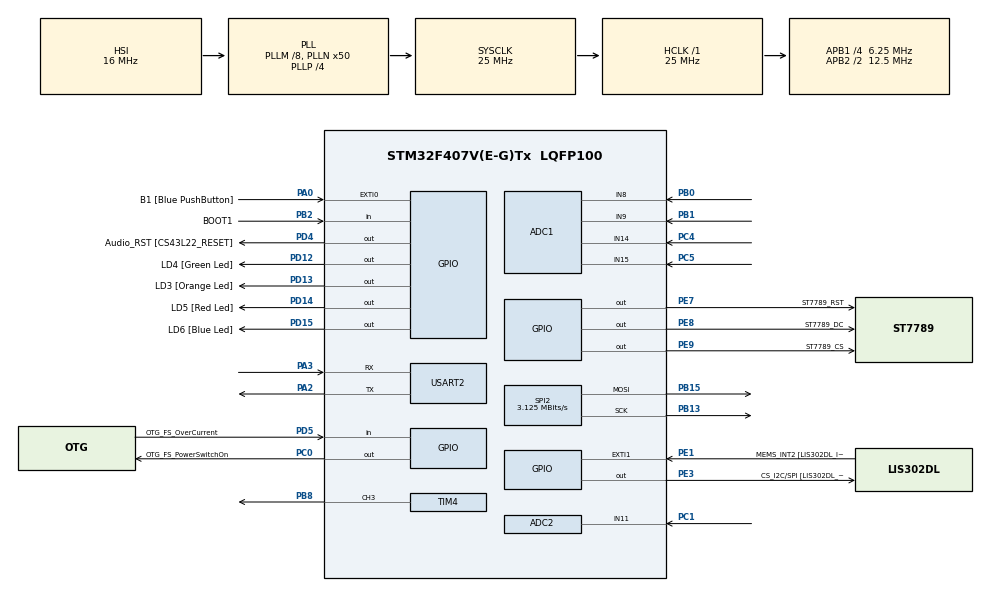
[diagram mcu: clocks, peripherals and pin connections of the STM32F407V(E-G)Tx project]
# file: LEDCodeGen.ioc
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ADC1.Channel-2\#ChannelRegularConversion=ADC_CHANNEL_14
ADC1.Channel-7\#ChannelRegularConversion=ADC_CHANNEL_15
ADC1.Channel-8\#ChannelRegularConversion=ADC_CHANNEL_8
ADC1.Channel-9\#ChannelRegularConversion=ADC_CHANNEL_9
ADC1.ContinuousConvMode=ENABLE
ADC1.DMAContinuousRequests=ENABLE
ADC1.InjNumberOfConversion=0
ADC1.NbrOfConversion=4
ADC1.NbrOfConversionFlag=1
ADC1.Rank-2\#ChannelRegularConversion=1
ADC1.Rank-7\#ChannelRegularConversion=2
ADC1.Rank-8\#ChannelRegularConversion=3
ADC1.Rank-9\#ChannelRegularConversion=4
ADC1.SamplingTime-2\#ChannelRegularConversion=ADC_SAMPLETIME_480CYCLES
ADC1.SamplingTime-7\#ChannelRegularConversion=ADC_SAMPLETIME_480CYCLES
ADC1.SamplingTime-8\#ChannelRegularConversion=ADC_SAMPLETIME_480CYCLES
ADC1.SamplingTime-9\#ChannelRegularConversion=ADC_SAMPLETIME_480CYCLES
ADC1.ScanConvMode=ENABLE
ADC1.master=1
ADC2.Channel-2\#ChannelRegularConversion=ADC_CHANNEL_11
ADC2.NbrOfConversionFlag=1
ADC2.Rank-2\#ChannelRegularConversion=1
ADC2.SamplingTime-2\#ChannelRegularConversion=ADC_SAMPLETIME_3CYCLES
Dma.ADC1.0.Direction=DMA_PERIPH_TO_MEMORY
Dma.ADC1.0.FIFOMode=DMA_FIFOMODE_DISABLE
Dma.ADC1.0.Instance=DMA2_Stream0
Dma.ADC1.0.MemDataAlignment=DMA_MDATAALIGN_WORD
Dma.ADC1.0.MemInc=DMA_MINC_ENABLE
Dma.ADC1.0.Mode=DMA_CIRCULAR
Dma.ADC1.0.PeriphDataAlignment=DMA_PDATAALIGN_WORD
Dma.ADC1.0.PeriphInc=DMA_PINC_DISABLE
Dma.ADC1.0.Priority=DMA_PRIORITY_HIGH
Dma.Request0=ADC1
Mcu.Family=STM32F4
Mcu.Name=STM32F407V(E-G)Tx
Mcu.Package=LQFP100
NVIC.ADC_IRQn=true\:1\:0\:true\:false\:true\:true\:true\:true
NVIC.DMA2_Stream0_IRQn=true\:0\:0\:false\:false\:true\:false\:true\:true
NVIC.PriorityGroup=NVIC_PRIORITYGROUP_4
PA0-WKUP.GPIO_Label=B1 [Blue PushButton]
PA0-WKUP.Signal=GPXTI0
PA10.GPIO_Label=OTG_FS_ID
PA10.GPIO_Mode=GPIO_MODE_AF_PP
PA10.GPIO_PuPd=GPIO_NOPULL
PA10.GPIO_Speed=GPIO_SPEED_FREQ_LOW
PA10.Signal=USB_OTG_FS_ID
PA11.GPIO_Label=OTG_FS_DM
PA11.GPIO_Mode=GPIO_MODE_AF_PP
PA11.GPIO_PuPd=GPIO_NOPULL
PA11.GPIO_Speed=GPIO_SPEED_FREQ_LOW
PA11.Signal=USB_OTG_FS_DM
PA12.GPIO_Label=OTG_FS_DP
PA12.GPIO_Mode=GPIO_MODE_AF_PP
PA12.GPIO_PuPd=GPIO_NOPULL
PA12.GPIO_Speed=GPIO_SPEED_FREQ_LOW
PA12.Signal=USB_OTG_FS_DP
PA13.GPIO_Label=SWDIO
PA13.Signal=SYS_JTMS-SWDIO
PA14.GPIO_Label=SWCLK
PA14.Signal=SYS_JTCK-SWCLK
PA2.Mode=Asynchronous
PA2.Signal=USART2_TX
PA3.Mode=Asynchronous
PA3.Signal=USART2_RX
PA4.GPIO_Label=I2S3_WS [CS43L22_LRCK]
PA4.GPIO_Mode=GPIO_MODE_AF_PP
PA4.GPIO_PuPd=GPIO_NOPULL
PA4.GPIO_Speed=GPIO_SPEED_FREQ_LOW
PA4.Signal=I2S3_WS
PA5.GPIO_Label=SPI1_SCK [LIS302DL_SCL/SPC]
PA5.GPIO_Mode=GPIO_MODE_AF_PP
PA5.GPIO_PuPd=GPIO_NOPULL
PA5.GPIO_Speed=GPIO_SPEED_FREQ_LOW
PA5.Signal=SPI1_SCK
PA6.GPIO_Label=SPI1_MISO [LIS302DL_SDO]
PA6.GPIO_Mode=GPIO_MODE_AF_PP
PA6.GPIO_PuPd=GPIO_NOPULL
PA6.GPIO_Speed=GPIO_SPEED_FREQ_LOW
PA6.Signal=SPI1_MISO
PA7.GPIO_Label=SPI1_MOSI [LIS302DL_SDA/SDI/SDO]
PA7.GPIO_Mode=GPIO_MODE_AF_PP
PA7.GPIO_PuPd=GPIO_NOPULL
PA7.GPIO_Speed=GPIO_SPEED_FREQ_LOW
PA7.Signal=SPI1_MOSI
PA9.GPIO_Label=VBUS_FS
PA9.GPIO_Mode=GPIO_MODE_INPUT
PA9.GPIO_PuPd=GPIO_NOPULL
PA9.Signal=USB_OTG_FS_VBUS
PB0.Signal=ADCx_IN8
PB1.Signal=ADCx_IN9
PB13.Mode=TX_Only_Simplex_Unidirect_Master
PB13.Signal=SPI2_SCK
PB15.Mode=TX_Only_Simplex_Unidirect_Master
PB15.Signal=SPI2_MOSI
PB2.GPIO_Label=BOOT1
PB2.GPIO_Mode=GPIO_MODE_INPUT
PB2.GPIO_PuPd=GPIO_NOPULL
PB2.Signal=GPIO_Input
PB3.GPIO_Label=SWO
PB3.Signal=SYS_JTDO-SWO
PB6.GPIO_Label=Audio_SCL [CS43L22_SCL]
PB6.GPIO_Mode=GPIO_MODE_AF_OD
PB6.GPIO_PuPd=GPIO_NOPULL
PB6.GPIO_Speed=GPIO_SPEED_FREQ_LOW
PB6.Signal=I2C1_SCL
PB8.Signal=S_TIM4_CH3
PB9.GPIO_Label=Audio_SDA [CS43L22_SDA]
PB9.GPIO_Mode=GPIO_MODE_AF_OD
PB9.GPIO_PuPd=GPIO_NOPULL
PB9.GPIO_Speed=GPIO_SPEED_FREQ_LOW
PB9.Signal=I2C1_SDA
PC0.GPIO_Label=OTG_FS_PowerSwitchOn
PC0.GPIO_PuPd=GPIO_NOPULL
PC0.GPIO_Speed=GPIO_SPEED_FREQ_LOW
PC0.PinState=GPIO_PIN_SET
PC0.Signal=GPIO_Output
PC1.Signal=ADCx_IN11
PC10.GPIO_Label=I2S3_SCK [CS43L22_SCLK]
PC10.GPIO_Mode=GPIO_MODE_AF_PP
PC10.GPIO_PuPd=GPIO_NOPULL
PC10.GPIO_Speed=GPIO_SPEED_FREQ_LOW
PC10.Signal=I2S3_CK
PC12.GPIO_Label=I2S3_SD [CS43L22_SDIN]
PC12.GPIO_Mode=GPIO_MODE_AF_PP
PC12.GPIO_PuPd=GPIO_NOPULL
PC12.GPIO_Speed=GPIO_SPEED_FREQ_LOW
PC12.Signal=I2S3_SD
PC14-OSC32_IN.GPIO_Label=PC14-OSC32_IN
PC14-OSC32_IN.Signal=RCC_OSC32_IN
PC15-OSC32_OUT.GPIO_Label=PC15-OSC32_OUT
PC15-OSC32_OUT.Signal=RCC_OSC32_OUT
PC2.Signal=ADCx_IN12
PC4.Signal=ADCx_IN14
PC5.Signal=ADCx_IN15
PC7.GPIO_Label=I2S3_MCK [CS43L22_MCLK]
PC7.GPIO_Mode=GPIO_MODE_AF_PP
PC7.GPIO_PuPd=GPIO_NOPULL
PC7.GPIO_Speed=GPIO_SPEED_FREQ_LOW
PC7.Signal=I2S3_MCK
PD12.GPIO_Label=LD4 [Green Led]
PD12.GPIO_PuPd=GPIO_NOPULL
PD12.GPIO_Speed=GPIO_SPEED_FREQ_LOW
PD12.Signal=GPIO_Output
PD13.GPIO_Label=LD3 [Orange Led]
PD13.GPIO_PuPd=GPIO_NOPULL
PD13.GPIO_Speed=GPIO_SPEED_FREQ_LOW
PD13.Signal=GPIO_Output
PD14.GPIO_Label=LD5 [Red Led]
PD14.GPIO_PuPd=GPIO_NOPULL
PD14.GPIO_Speed=GPIO_SPEED_FREQ_LOW
PD14.Signal=GPIO_Output
PD15.GPIO_Label=LD6 [Blue Led]
PD15.GPIO_PuPd=GPIO_NOPULL
PD15.GPIO_Speed=GPIO_SPEED_FREQ_LOW
PD15.Signal=GPIO_Output
PD4.GPIO_Label=Audio_RST [CS43L22_RESET]
PD4.GPIO_PuPd=GPIO_NOPULL
PD4.GPIO_Speed=GPIO_SPEED_FREQ_LOW
PD4.Signal=GPIO_Output
PD5.GPIO_Label=OTG_FS_OverCurrent
PD5.GPIO_Mode=GPIO_MODE_INPUT
PD5.GPIO_PuPd=GPIO_NOPULL
PD5.Signal=GPIO_Input
PE1.GPIO_Label=MEMS_INT2 [LIS302DL_INT2]
PE1.GPIO_ModeDefaultEXTI=GPIO_MODE_EVT_RISING
PE1.GPIO_PuPd=GPIO_NOPULL
PE1.Signal=GPXTI1
PE3.GPIO_Label=CS_I2C/SPI [LIS302DL_CS_I2C/SPI]
PE3.GPIO_PuPd=GPIO_NOPULL
PE3.GPIO_Speed=GPIO_SPEED_FREQ_LOW
PE3.Signal=GPIO_Output
PE7.GPIO_Label=ST7789_RST
PE7.PinState=GPIO_PIN_SET
PE7.Signal=GPIO_Output
PE8.GPIO_Label=ST7789_DC
PE8.Signal=GPIO_Output
PE9.GPIO_Label=ST7789_CS
PE9.PinState=GPIO_PIN_SET
PE9.Signal=GPIO_Output
PH0-OSC_IN.GPIO_Label=PH0-OSC_IN
PH0-OSC_IN.Signal=RCC_OSC_IN
PH1-OSC_OUT.GPIO_Label=PH1-OSC_OUT
PH1-OSC_OUT.Signal=RCC_OSC_OUT
ProjectManager.HeapSize=0x200
ProjectManager.StackSize=0x400
ProjectManager.TargetToolchain=STM32CubeIDE
RCC.48MHZClocksFreq_Value=14285714.285714285
RCC.AHBFreq_Value=25000000
RCC.APB1CLKDivider=RCC_HCLK_DIV4
RCC.APB1Freq_Value=6250000
RCC.APB1TimFreq_Value=12500000
RCC.APB2CLKDivider=RCC_HCLK_DIV2
RCC.APB2Freq_Value=12500000
RCC.APB2TimFreq_Value=25000000
RCC.CortexFreq_Value=25000000
RCC.HCLKFreq_Value=25000000
RCC.HSE_VALUE=8000000
RCC.HSI_VALUE=16000000
RCC.LSE_VALUE=32768
RCC.PLLM=8
RCC.PLLN=50
RCC.PLLP=RCC_PLLP_DIV4
RCC.PLLQ=7
RCC.SYSCLKFreq_VALUE=25000000
RCC.SYSCLKSource=RCC_SYSCLKSOURCE_PLLCLK
RCC.VCOOutputFreq_Value=100000000
SH.ADCx_IN11.0=ADC2_IN11,IN11
SH.ADCx_IN11.1=ADC1_IN11
SH.ADCx_IN12.0=ADC1_IN12
SH.ADCx_IN12.1=ADC2_IN12
SH.ADCx_IN14.0=ADC1_IN14,IN14
SH.ADCx_IN15.0=ADC1_IN15,IN15
SH.ADCx_IN8.0=ADC1_IN8,IN8
SH.ADCx_IN9.0=ADC1_IN9,IN9
SH.S_TIM4_CH3.0=TIM4_CH3,PWM Generation3 CH3
SPI2.BaudRatePrescaler=SPI_BAUDRATEPRESCALER_2
SPI2.CalculateBaudRate=3.125 MBits/s
SPI2.Direction=SPI_DIRECTION_2LINES
SPI2.Mode=SPI_MODE_MASTER
SPI2.VirtualType=VM_MASTER
TIM4.Channel-PWM\ Generation3\ CH3=TIM_CHANNEL_3
TIM4.Period=999
TIM4.Prescaler=15
USART2.VirtualMode=VM_ASYNC
VP_TIM4_VS_ClockSourceINT.Mode=Internal
board=STM32F407G-DISC1

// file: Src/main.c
/* USER CODE BEGIN Header */
/**
  ******************************************************************************
  * @file           : main.c
  * @brief          : Main program body
  ******************************************************************************
  * @attention
  *
  * Copyright (c) 2026 STMicroelectronics.
  * All rights reserved.
  *
  * This software is licensed under terms that can be found in the LICENSE file
  * in the root directory of this software component.
  * If no LICENSE file comes with this software, it is provided AS-IS.
  *
  ******************************************************************************
  */
/* USER CODE END Header */
#include "main.h"

/* USER CODE BEGIN Includes */
#include "st7789.h"
#include <stdio.h>
#include <stdbool.h>
#include <math.h>
#include "string.h"
#include "task.h"
#define SENSOR_PIPE_SIZE 10
/* USER CODE END Includes */

/* USER CODE BEGIN PD */
#define CENTER_BOX_SIZE 60U

/* USER CODE END PD */

ADC_HandleTypeDef hadc1;
ADC_HandleTypeDef hadc2;
DMA_HandleTypeDef hdma_adc1;

SPI_HandleTypeDef hspi2;

TIM_HandleTypeDef htim4;

UART_HandleTypeDef huart2;

/* USER CODE BEGIN PV */
volatile uint32_t pot = 0;
volatile uint32_t pwm = 0;
uint16_t sensor_e;
uint16_t sensor_s;
uint16_t sensor_w;
uint16_t sensor_n;
static uint16_t sensor_n_highest = 0;
static uint16_t sensor_e_highest = 0;
static uint16_t sensor_s_highest = 0;
static uint16_t sensor_w_highest = 0;

static bool valid_reading = false;
static float aoa_degree_final = 0.0f;
uint32_t readValue[4];

static uint8_t SENSOR_PIPE_INDEX = 0;
static uint32_t sensor_pipe_n[SENSOR_PIPE_SIZE];
static uint32_t sensor_pipe_e[SENSOR_PIPE_SIZE];
static uint32_t sensor_pipe_s[SENSOR_PIPE_SIZE];
static uint32_t sensor_pipe_w[SENSOR_PIPE_SIZE];

char buffer[50];
static uint16_t north_reading_x;
static uint16_t north_reading_y;
static uint16_t east_reading_x;
static uint16_t east_reading_y;
static uint16_t west_reading_x;
static uint16_t west_reading_y;
static uint16_t south_reading_x;
static uint16_t south_reading_y;
static uint16_t heading_x;
static uint16_t heading_y;

/* USER CODE END PV */

void SystemClock_Config(void);
static void MX_GPIO_Init(void);
static void MX_DMA_Init(void);
static void MX_ADC1_Init(void);
static void MX_ADC2_Init(void);
static void MX_TIM4_Init(void);
static void MX_USART2_UART_Init(void);
static void MX_SPI2_Init(void);

/* USER CODE BEGIN 0 */
/* Magnitudes are ordered clockwise: north, east, south, west.
 * Select the strongest sensor and its strongest perpendicular neighbor.
 * Equal magnitudes prefer the first primary and the clockwise neighbor.
 * Returns false, with a zero heading, when all magnitudes are zero.
 */
static bool calculate_heading(float north, float east, float south, float west,
                              float *heading_degrees)
{
    const float magnitudes[4] = {north, east, south, west};
    unsigned primary = 0U;

    for (unsigned i = 1U; i < 4U; i++)
    {
        if (magnitudes[i] > magnitudes[primary])
        {
            primary = i;
        }
    }

    *heading_degrees = 0.0f;
    if (magnitudes[primary] <= 0.0f)
    {
        return false;
    }

    const unsigned clockwise = (primary + 1U) % 4U;
    const unsigned counterclockwise = (primary + 3U) % 4U;
    const bool use_clockwise =
        magnitudes[clockwise] >= magnitudes[counterclockwise];
    const float secondary = use_clockwise ? magnitudes[clockwise] :
                                            magnitudes[counterclockwise];
    const float offset = atan2f(secondary, magnitudes[primary]) *
                         (180.0f / 3.14159265358979323846f);
    float heading = (float)primary * 90.0f +
                    (use_clockwise ? offset : -offset);

    if (heading < 0.0f)
    {
        heading += 360.0f;
    }
    else if (heading >= 360.0f)
    {
        heading -= 360.0f;
    }

    *heading_degrees = heading;
    return true;
}

static void task_light_sensors(void)
{
	sensor_e = (uint16_t) readValue[0];
	sensor_s = (uint16_t) readValue[1];
	sensor_w = (uint16_t) readValue[2];
	sensor_n = (uint16_t) readValue[3];

	sensor_pipe_n[SENSOR_PIPE_INDEX] = sensor_n;
	sensor_pipe_e[SENSOR_PIPE_INDEX] = sensor_e;
	sensor_pipe_s[SENSOR_PIPE_INDEX] = sensor_s;
	sensor_pipe_w[SENSOR_PIPE_INDEX] = sensor_w;
	SENSOR_PIPE_INDEX += 1;
	if(SENSOR_PIPE_INDEX == SENSOR_PIPE_SIZE)
	{
		SENSOR_PIPE_INDEX = 0;
	}
}

static void task_display(void)
{
	uint32_t n_sum = 0;
	uint32_t e_sum = 0;
	uint32_t s_sum = 0;
	uint32_t w_sum = 0;
	for(int i = 0; i < SENSOR_PIPE_SIZE; i++)
	{
		n_sum += sensor_pipe_n[i];
		e_sum += sensor_pipe_e[i];
		s_sum += sensor_pipe_s[i];
		w_sum += sensor_pipe_w[i];
	}
	uint16_t n_avg = n_sum / SENSOR_PIPE_SIZE;
	uint16_t e_avg = e_sum / SENSOR_PIPE_SIZE;
	uint16_t s_avg = s_sum / SENSOR_PIPE_SIZE;
	uint16_t w_avg = w_sum / SENSOR_PIPE_SIZE;

	/* Normalize each averaged reading to its own highest observed value. */
	if (n_avg > sensor_n_highest) sensor_n_highest = n_avg;
	if (e_avg > sensor_e_highest) sensor_e_highest = e_avg;
	if (s_avg > sensor_s_highest) sensor_s_highest = s_avg;
	if (w_avg > sensor_w_highest) sensor_w_highest = w_avg;

	const unsigned n_percent = sensor_n_highest == 0U ? 0U :
		((uint32_t)n_avg * 100U + sensor_n_highest / 2U) / sensor_n_highest;
	const unsigned e_percent = sensor_e_highest == 0U ? 0U :
		((uint32_t)e_avg * 100U + sensor_e_highest / 2U) / sensor_e_highest;
	const unsigned s_percent = sensor_s_highest == 0U ? 0U :
		((uint32_t)s_avg * 100U + sensor_s_highest / 2U) / sensor_s_highest;
	const unsigned w_percent = sensor_w_highest == 0U ? 0U :
		((uint32_t)w_avg * 100U + sensor_w_highest / 2U) / sensor_w_highest;

	valid_reading = calculate_heading((float)n_percent, (float)e_percent,
	                                  (float)s_percent, (float)w_percent,
	                                  &aoa_degree_final);

	//snprintf(buffer, sizeof(buffer), "e: %d,s %d, w: %d, n: %d", sensor_e, sensor_s, sensor_w, sensor_n);
	buffer[0] = '\0';
	snprintf(buffer, sizeof(buffer), "N:%3u%%", n_percent);
	ST7789_WriteString(north_reading_x, north_reading_y, buffer, Font_11x18, WHITE, BLACK);
	buffer[0] = '\0';
	snprintf(buffer, sizeof(buffer), "E:%3u%%", e_percent);
	ST7789_WriteString(east_reading_x, east_reading_y, buffer, Font_11x18, WHITE, BLACK);
	buffer[0] = '\0';
	snprintf(buffer, sizeof(buffer), "S:%3u%%", s_percent);
	ST7789_WriteString(south_reading_x, south_reading_y, buffer, Font_11x18, WHITE, BLACK);
	buffer[0] = '\0';
	snprintf(buffer, sizeof(buffer), "W:%3u%%", w_percent);
	ST7789_WriteString(west_reading_x, west_reading_y, buffer, Font_11x18, WHITE, BLACK);

	/* Erase the previous pointer without clearing the whole square. */
	static bool heading_line_drawn = false;
	static uint16_t previous_line_x;
	static uint16_t previous_line_y;
	const uint16_t center_x = ST7789_WIDTH / 2U;
	const uint16_t center_y = ST7789_HEIGHT / 2U - Font_7x10.height / 2U - 4U;

	if (heading_line_drawn)
	{
		ST7789_DrawLine(center_x, center_y,
		                previous_line_x, previous_line_y, WHITE);
		heading_line_drawn = false;
	}

	/* Screen Y increases downward: north is -Y and east is +X. */
	if (valid_reading)
	{
		const float radians = aoa_degree_final *
		                      (3.14159265358979323846f / 180.0f);
		const float radius = (float)(CENTER_BOX_SIZE / 2U - Font_7x10.height - 2U);
		previous_line_x = (uint16_t)((int32_t)center_x +
		                            lroundf(sinf(radians) * radius));
		previous_line_y = (uint16_t)((int32_t)center_y -
		                            lroundf(cosf(radians) * radius));
		ST7789_DrawLine(center_x, center_y,
		                previous_line_x, previous_line_y, BLUE);
		heading_line_drawn = true;

		/* Fixed-width whole degrees; avoid requiring printf float support. */
		const unsigned degrees = ((unsigned)(aoa_degree_final + 0.5f)) % 360U;
		snprintf(buffer, sizeof(buffer), "%3u deg", degrees);
	}
	else
	{
		snprintf(buffer, sizeof(buffer), "--- deg");
	}
	/* The label sits below the pointer inside the white square. */
	ST7789_WriteString(heading_x, heading_y, buffer, Font_7x10, BLACK, WHITE);
	//ST7789_WriteString(20, 30, buffer, Font_11x18, WHITE, BLACK);
}

static struct task tasks[] =
{
		  {task_light_sensors, 25, 0},
		  {task_display, 600, 0}
};
/* USER CODE END 0 */

int main(void)
{

  /* MCU Configuration--------------------------------------------------------*/

  /* Reset of all peripherals, Initializes the Flash interface and the Systick. */
  HAL_Init();

  /* Configure the system clock */
  SystemClock_Config();

  /* Initialize all configured peripherals */
  MX_GPIO_Init();
  MX_DMA_Init();
  MX_ADC1_Init();
  MX_ADC2_Init();
  MX_TIM4_Init();
  MX_USART2_UART_Init();
  MX_SPI2_Init();
  /* USER CODE BEGIN 2 */
  static const char sample_text[] = "N:100% ";
  const uint16_t sample_len = strlen(sample_text) * Font_11x18.width;
  north_reading_x = (ST7789_WIDTH - sample_len) / 2U;
  north_reading_y = Font_11x18.height;

  east_reading_x = ST7789_WIDTH - sample_len;
  east_reading_y = ST7789_HEIGHT / 2;

  west_reading_x = Font_11x18.width;
  west_reading_y = east_reading_y;

  south_reading_x = north_reading_x;
  south_reading_y = ST7789_HEIGHT - Font_11x18.height;

  /* The smaller font fits between the east and west labels. */
  heading_x = (ST7789_WIDTH - (sizeof("000 deg") - 1U) * Font_7x10.width) / 2U;
  heading_y = (ST7789_HEIGHT + CENTER_BOX_SIZE) / 2U - Font_7x10.height - 4U;

  HAL_TIM_PWM_Start(&htim4, TIM_CHANNEL_3);
  HAL_ADC_Start_DMA(&hadc1, (uint32_t*) readValue, 4);

  ST7789_Init();
  ST7789_Fill_Color(BLACK);
  const uint16_t center_box_x = (ST7789_WIDTH - CENTER_BOX_SIZE) / 2U;
  const uint16_t center_box_y = (ST7789_HEIGHT - CENTER_BOX_SIZE) / 2U;
  ST7789_Fill(center_box_x, center_box_y,
              center_box_x + CENTER_BOX_SIZE - 1U,
              center_box_y + CENTER_BOX_SIZE - 1U, WHITE);
  HAL_Delay(1000);

  //
  //ST7789_WriteString(20, 30, "another", Font_11x18, WHITE, BLACK);

  //ST7789_Test();
  /* USER CODE END 2 */

  /* Infinite loop */
  while (1)
  {

    /* USER CODE BEGIN 3 */
	  uint32_t now = HAL_GetTick();
	  for(size_t i = 0; i < sizeof(tasks) / sizeof(tasks[0]); i++)
	  {
		  if(now - tasks[i].last_ms >= tasks[i].interval_ms)
		  {
			  tasks[i].last_ms = now;
			  tasks[i].run();
		  }
	  }

	  //HAL_UART_Transmit(&huart2, (uint8_t*)buffer, (uint16_t)strlen(buffer), HAL_MAX_DELAY);

  }
  /* USER CODE END 3 */
}

void SystemClock_Config(void)
{
  RCC_OscInitTypeDef RCC_OscInitStruct = {0};
  RCC_ClkInitTypeDef RCC_ClkInitStruct = {0};

  /** Configure the main internal regulator output voltage
  */
  __HAL_RCC_PWR_CLK_ENABLE();
  __HAL_PWR_VOLTAGESCALING_CONFIG(PWR_REGULATOR_VOLTAGE_SCALE1);

  /** Initializes the RCC Oscillators according to the specified parameters
  * in the RCC_OscInitTypeDef structure.
  */
  RCC_OscInitStruct.OscillatorType = RCC_OSCILLATORTYPE_HSI;
  RCC_OscInitStruct.HSIState = RCC_HSI_ON;
  RCC_OscInitStruct.HSICalibrationValue = RCC_HSICALIBRATION_DEFAULT;
  RCC_OscInitStruct.PLL.PLLState = RCC_PLL_ON;
  RCC_OscInitStruct.PLL.PLLSource = RCC_PLLSOURCE_HSI;
  RCC_OscInitStruct.PLL.PLLM = 8;
  RCC_OscInitStruct.PLL.PLLN = 50;
  RCC_OscInitStruct.PLL.PLLP = RCC_PLLP_DIV4;
  RCC_OscInitStruct.PLL.PLLQ = 7;
  if (HAL_RCC_OscConfig(&RCC_OscInitStruct) != HAL_OK)
  {
    Error_Handler();
  }

  /** Initializes the CPU, AHB and APB buses clocks
  */
  RCC_ClkInitStruct.ClockType = RCC_CLOCKTYPE_HCLK|RCC_CLOCKTYPE_SYSCLK
                              |RCC_CLOCKTYPE_PCLK1|RCC_CLOCKTYPE_PCLK2;
  RCC_ClkInitStruct.SYSCLKSource = RCC_SYSCLKSOURCE_PLLCLK;
  RCC_ClkInitStruct.AHBCLKDivider = RCC_SYSCLK_DIV1;
  RCC_ClkInitStruct.APB1CLKDivider = RCC_HCLK_DIV4;
  RCC_ClkInitStruct.APB2CLKDivider = RCC_HCLK_DIV2;

  if (HAL_RCC_ClockConfig(&RCC_ClkInitStruct, FLASH_LATENCY_0) != HAL_OK)
  {
    Error_Handler();
  }
}

static void MX_ADC1_Init(void)
{

  ADC_ChannelConfTypeDef sConfig = {0};

  /** Configure the global features of the ADC (Clock, Resolution, Data Alignment and number of conversion)
  */
  hadc1.Instance = ADC1;
  hadc1.Init.ClockPrescaler = ADC_CLOCK_SYNC_PCLK_DIV2;
  hadc1.Init.Resolution = ADC_RESOLUTION_12B;
  hadc1.Init.ScanConvMode = ENABLE;
  hadc1.Init.ContinuousConvMode = ENABLE;
  hadc1.Init.DiscontinuousConvMode = DISABLE;
  hadc1.Init.ExternalTrigConvEdge = ADC_EXTERNALTRIGCONVEDGE_NONE;
  hadc1.Init.ExternalTrigConv = ADC_SOFTWARE_START;
  hadc1.Init.DataAlign = ADC_DATAALIGN_RIGHT;
  hadc1.Init.NbrOfConversion = 4;
  hadc1.Init.DMAContinuousRequests = ENABLE;
  hadc1.Init.EOCSelection = ADC_EOC_SINGLE_CONV;
  if (HAL_ADC_Init(&hadc1) != HAL_OK)
  {
    Error_Handler();
  }

  /** Configure for the selected ADC regular channel its corresponding rank in the sequencer and its sample time.
  */
  sConfig.Channel = ADC_CHANNEL_14;
  sConfig.Rank = 1;
  sConfig.SamplingTime = ADC_SAMPLETIME_480CYCLES;
  if (HAL_ADC_ConfigChannel(&hadc1, &sConfig) != HAL_OK)
  {
    Error_Handler();
  }

  /** Configure for the selected ADC regular channel its corresponding rank in the sequencer and its sample time.
  */
  sConfig.Channel = ADC_CHANNEL_15;
  sConfig.Rank = 2;
  if (HAL_ADC_ConfigChannel(&hadc1, &sConfig) != HAL_OK)
  {
    Error_Handler();
  }

  /** Configure for the selected ADC regular channel its corresponding rank in the sequencer and its sample time.
  */
  sConfig.Channel = ADC_CHANNEL_8;
  sConfig.Rank = 3;
  if (HAL_ADC_ConfigChannel(&hadc1, &sConfig) != HAL_OK)
  {
    Error_Handler();
  }

  /** Configure for the selected ADC regular channel its corresponding rank in the sequencer and its sample time.
  */
  sConfig.Channel = ADC_CHANNEL_9;
  sConfig.Rank = 4;
  if (HAL_ADC_ConfigChannel(&hadc1, &sConfig) != HAL_OK)
  {
    Error_Handler();
  }

}

static void MX_ADC2_Init(void)
{

  ADC_ChannelConfTypeDef sConfig = {0};

  /** Configure the global features of the ADC (Clock, Resolution, Data Alignment and number of conversion)
  */
  hadc2.Instance = ADC2;
  hadc2.Init.ClockPrescaler = ADC_CLOCK_SYNC_PCLK_DIV2;
  hadc2.Init.Resolution = ADC_RESOLUTION_12B;
  hadc2.Init.ScanConvMode = DISABLE;
  hadc2.Init.ContinuousConvMode = DISABLE;
  hadc2.Init.DiscontinuousConvMode = DISABLE;
  hadc2.Init.ExternalTrigConvEdge = ADC_EXTERNALTRIGCONVEDGE_NONE;
  hadc2.Init.ExternalTrigConv = ADC_SOFTWARE_START;
  hadc2.Init.DataAlign = ADC_DATAALIGN_RIGHT;
  hadc2.Init.NbrOfConversion = 1;
  hadc2.Init.DMAContinuousRequests = DISABLE;
  hadc2.Init.EOCSelection = ADC_EOC_SINGLE_CONV;
  if (HAL_ADC_Init(&hadc2) != HAL_OK)
  {
    Error_Handler();
  }

  /** Configure for the selected ADC regular channel its corresponding rank in the sequencer and its sample time.
  */
  sConfig.Channel = ADC_CHANNEL_11;
  sConfig.Rank = 1;
  sConfig.SamplingTime = ADC_SAMPLETIME_3CYCLES;
  if (HAL_ADC_ConfigChannel(&hadc2, &sConfig) != HAL_OK)
  {
    Error_Handler();
  }

}

static void MX_SPI2_Init(void)
{

  /* SPI2 parameter configuration*/
  hspi2.Instance = SPI2;
  hspi2.Init.Mode = SPI_MODE_MASTER;
  hspi2.Init.Direction = SPI_DIRECTION_2LINES;
  hspi2.Init.DataSize = SPI_DATASIZE_8BIT;
  hspi2.Init.CLKPolarity = SPI_POLARITY_LOW;
  hspi2.Init.CLKPhase = SPI_PHASE_1EDGE;
  hspi2.Init.NSS = SPI_NSS_SOFT;
  hspi2.Init.BaudRatePrescaler = SPI_BAUDRATEPRESCALER_2;
  hspi2.Init.FirstBit = SPI_FIRSTBIT_MSB;
  hspi2.Init.TIMode = SPI_TIMODE_DISABLE;
  hspi2.Init.CRCCalculation = SPI_CRCCALCULATION_DISABLE;
  hspi2.Init.CRCPolynomial = 10;
  if (HAL_SPI_Init(&hspi2) != HAL_OK)
  {
    Error_Handler();
  }

}

static void MX_TIM4_Init(void)
{

  TIM_ClockConfigTypeDef sClockSourceConfig = {0};
  TIM_MasterConfigTypeDef sMasterConfig = {0};
  TIM_OC_InitTypeDef sConfigOC = {0};

  htim4.Instance = TIM4;
  htim4.Init.Prescaler = 15;
  htim4.Init.CounterMode = TIM_COUNTERMODE_UP;
  htim4.Init.Period = 999;
  htim4.Init.ClockDivision = TIM_CLOCKDIVISION_DIV1;
  htim4.Init.AutoReloadPreload = TIM_AUTORELOAD_PRELOAD_DISABLE;
  if (HAL_TIM_Base_Init(&htim4) != HAL_OK)
  {
    Error_Handler();
  }
  sClockSourceConfig.ClockSource = TIM_CLOCKSOURCE_INTERNAL;
  if (HAL_TIM_ConfigClockSource(&htim4, &sClockSourceConfig) != HAL_OK)
  {
    Error_Handler();
  }
  if (HAL_TIM_PWM_Init(&htim4) != HAL_OK)
  {
    Error_Handler();
  }
  sMasterConfig.MasterOutputTrigger = TIM_TRGO_RESET;
  sMasterConfig.MasterSlaveMode = TIM_MASTERSLAVEMODE_DISABLE;
  if (HAL_TIMEx_MasterConfigSynchronization(&htim4, &sMasterConfig) != HAL_OK)
  {
    Error_Handler();
  }
  sConfigOC.OCMode = TIM_OCMODE_PWM1;
  sConfigOC.Pulse = 0;
  sConfigOC.OCPolarity = TIM_OCPOLARITY_HIGH;
  sConfigOC.OCFastMode = TIM_OCFAST_DISABLE;
  if (HAL_TIM_PWM_ConfigChannel(&htim4, &sConfigOC, TIM_CHANNEL_3) != HAL_OK)
  {
    Error_Handler();
  }
  HAL_TIM_MspPostInit(&htim4);

}

static void MX_USART2_UART_Init(void)
{

  huart2.Instance = USART2;
  huart2.Init.BaudRate = 115200;
  huart2.Init.WordLength = UART_WORDLENGTH_8B;
  huart2.Init.StopBits = UART_STOPBITS_1;
  huart2.Init.Parity = UART_PARITY_NONE;
  huart2.Init.Mode = UART_MODE_TX_RX;
  huart2.Init.HwFlowCtl = UART_HWCONTROL_NONE;
  huart2.Init.OverSampling = UART_OVERSAMPLING_16;
  if (HAL_UART_Init(&huart2) != HAL_OK)
  {
    Error_Handler();
  }

}

static void MX_DMA_Init(void)
{

  /* DMA controller clock enable */
  __HAL_RCC_DMA2_CLK_ENABLE();

  /* DMA interrupt init */
  /* DMA2_Stream0_IRQn interrupt configuration */
  HAL_NVIC_SetPriority(DMA2_Stream0_IRQn, 0, 0);
  HAL_NVIC_EnableIRQ(DMA2_Stream0_IRQn);

}

static void MX_GPIO_Init(void)
{
  GPIO_InitTypeDef GPIO_InitStruct = {0};

  /* GPIO Ports Clock Enable */
  __HAL_RCC_GPIOE_CLK_ENABLE();
  __HAL_RCC_GPIOC_CLK_ENABLE();
  __HAL_RCC_GPIOH_CLK_ENABLE();
  __HAL_RCC_GPIOA_CLK_ENABLE();
  __HAL_RCC_GPIOB_CLK_ENABLE();
  __HAL_RCC_GPIOD_CLK_ENABLE();

  /*Configure GPIO pin Output Level */
  HAL_GPIO_WritePin(GPIOE, CS_I2C_SPI_Pin|ST7789_DC_Pin, GPIO_PIN_RESET);

  /*Configure GPIO pin Output Level */
  HAL_GPIO_WritePin(OTG_FS_PowerSwitchOn_GPIO_Port, OTG_FS_PowerSwitchOn_Pin, GPIO_PIN_SET);

  /*Configure GPIO pin Output Level */
  HAL_GPIO_WritePin(GPIOE, ST7789_RST_Pin|ST7789_CS_Pin, GPIO_PIN_SET);

  /*Configure GPIO pin Output Level */
  HAL_GPIO_WritePin(GPIOD, LD4_Pin|LD3_Pin|LD5_Pin|LD6_Pin
                          |Audio_RST_Pin, GPIO_PIN_RESET);

  /*Configure GPIO pins : CS_I2C_SPI_Pin ST7789_RST_Pin ST7789_DC_Pin ST7789_CS_Pin */
  GPIO_InitStruct.Pin = CS_I2C_SPI_Pin|ST7789_RST_Pin|ST7789_DC_Pin|ST7789_CS_Pin;
  GPIO_InitStruct.Mode = GPIO_MODE_OUTPUT_PP;
  GPIO_InitStruct.Pull = GPIO_NOPULL;
  GPIO_InitStruct.Speed = GPIO_SPEED_FREQ_LOW;
  HAL_GPIO_Init(GPIOE, &GPIO_InitStruct);

  /*Configure GPIO pin : OTG_FS_PowerSwitchOn_Pin */
  GPIO_InitStruct.Pin = OTG_FS_PowerSwitchOn_Pin;
  GPIO_InitStruct.Mode = GPIO_MODE_OUTPUT_PP;
  GPIO_InitStruct.Pull = GPIO_NOPULL;
  GPIO_InitStruct.Speed = GPIO_SPEED_FREQ_LOW;
  HAL_GPIO_Init(OTG_FS_PowerSwitchOn_GPIO_Port, &GPIO_InitStruct);

  /*Configure GPIO pin : B1_Pin */
  GPIO_InitStruct.Pin = B1_Pin;
  GPIO_InitStruct.Mode = GPIO_MODE_IT_RISING;
  GPIO_InitStruct.Pull = GPIO_NOPULL;
  HAL_GPIO_Init(B1_GPIO_Port, &GPIO_InitStruct);

  /*Configure GPIO pin : I2S3_WS_Pin */
  GPIO_InitStruct.Pin = I2S3_WS_Pin;
  GPIO_InitStruct.Mode = GPIO_MODE_AF_PP;
  GPIO_InitStruct.Pull = GPIO_NOPULL;
  GPIO_InitStruct.Speed = GPIO_SPEED_FREQ_LOW;
  GPIO_InitStruct.Alternate = GPIO_AF6_SPI3;
  HAL_GPIO_Init(I2S3_WS_GPIO_Port, &GPIO_InitStruct);

  /*Configure GPIO pins : SPI1_SCK_Pin SPI1_MISO_Pin SPI1_MOSI_Pin */
  GPIO_InitStruct.Pin = SPI1_SCK_Pin|SPI1_MISO_Pin|SPI1_MOSI_Pin;
  GPIO_InitStruct.Mode = GPIO_MODE_AF_PP;
  GPIO_InitStruct.Pull = GPIO_NOPULL;
  GPIO_InitStruct.Speed = GPIO_SPEED_FREQ_LOW;
  GPIO_InitStruct.Alternate = GPIO_AF5_SPI1;
  HAL_GPIO_Init(GPIOA, &GPIO_InitStruct);

  /*Configure GPIO pin : BOOT1_Pin */
  GPIO_InitStruct.Pin = BOOT1_Pin;
  GPIO_InitStruct.Mode = GPIO_MODE_INPUT;
  GPIO_InitStruct.Pull = GPIO_NOPULL;
  HAL_GPIO_Init(BOOT1_GPIO_Port, &GPIO_InitStruct);

  /*Configure GPIO pins : LD4_Pin LD3_Pin LD5_Pin LD6_Pin
                           Audio_RST_Pin */
  GPIO_InitStruct.Pin = LD4_Pin|LD3_Pin|LD5_Pin|LD6_Pin
                          |Audio_RST_Pin;
  GPIO_InitStruct.Mode = GPIO_MODE_OUTPUT_PP;
  GPIO_InitStruct.Pull = GPIO_NOPULL;
  GPIO_InitStruct.Speed = GPIO_SPEED_FREQ_LOW;
  HAL_GPIO_Init(GPIOD, &GPIO_InitStruct);

  /*Configure GPIO pins : I2S3_MCK_Pin I2S3_SCK_Pin I2S3_SD_Pin */
  GPIO_InitStruct.Pin = I2S3_MCK_Pin|I2S3_SCK_Pin|I2S3_SD_Pin;
  GPIO_InitStruct.Mode = GPIO_MODE_AF_PP;
  GPIO_InitStruct.Pull = GPIO_NOPULL;
  GPIO_InitStruct.Speed = GPIO_SPEED_FREQ_LOW;
  GPIO_InitStruct.Alternate = GPIO_AF6_SPI3;
  HAL_GPIO_Init(GPIOC, &GPIO_InitStruct);

  /*Configure GPIO pin : VBUS_FS_Pin */
  GPIO_InitStruct.Pin = VBUS_FS_Pin;
  GPIO_InitStruct.Mode = GPIO_MODE_INPUT;
  GPIO_InitStruct.Pull = GPIO_NOPULL;
  HAL_GPIO_Init(VBUS_FS_GPIO_Port, &GPIO_InitStruct);

  /*Configure GPIO pins : OTG_FS_ID_Pin OTG_FS_DM_Pin OTG_FS_DP_Pin */
  GPIO_InitStruct.Pin = OTG_FS_ID_Pin|OTG_FS_DM_Pin|OTG_FS_DP_Pin;
  GPIO_InitStruct.Mode = GPIO_MODE_AF_PP;
  GPIO_InitStruct.Pull = GPIO_NOPULL;
  GPIO_InitStruct.Speed = GPIO_SPEED_FREQ_LOW;
  GPIO_InitStruct.Alternate = GPIO_AF10_OTG_FS;
  HAL_GPIO_Init(GPIOA, &GPIO_InitStruct);

  /*Configure GPIO pin : OTG_FS_OverCurrent_Pin */
  GPIO_InitStruct.Pin = OTG_FS_OverCurrent_Pin;
  GPIO_InitStruct.Mode = GPIO_MODE_INPUT;
  GPIO_InitStruct.Pull = GPIO_NOPULL;
  HAL_GPIO_Init(OTG_FS_OverCurrent_GPIO_Port, &GPIO_InitStruct);

  /*Configure GPIO pins : Audio_SCL_Pin Audio_SDA_Pin */
  GPIO_InitStruct.Pin = Audio_SCL_Pin|Audio_SDA_Pin;
  GPIO_InitStruct.Mode = GPIO_MODE_AF_OD;
  GPIO_InitStruct.Pull = GPIO_NOPULL;
  GPIO_InitStruct.Speed = GPIO_SPEED_FREQ_LOW;
  GPIO_InitStruct.Alternate = GPIO_AF4_I2C1;
  HAL_GPIO_Init(GPIOB, &GPIO_InitStruct);

  /*Configure GPIO pin : MEMS_INT2_Pin */
  GPIO_InitStruct.Pin = MEMS_INT2_Pin;
  GPIO_InitStruct.Mode = GPIO_MODE_EVT_RISING;
  GPIO_InitStruct.Pull = GPIO_NOPULL;
  HAL_GPIO_Init(MEMS_INT2_GPIO_Port, &GPIO_InitStruct);

}

void Error_Handler(void)
{
  __disable_irq();
  while (1)
  {
  }
}
